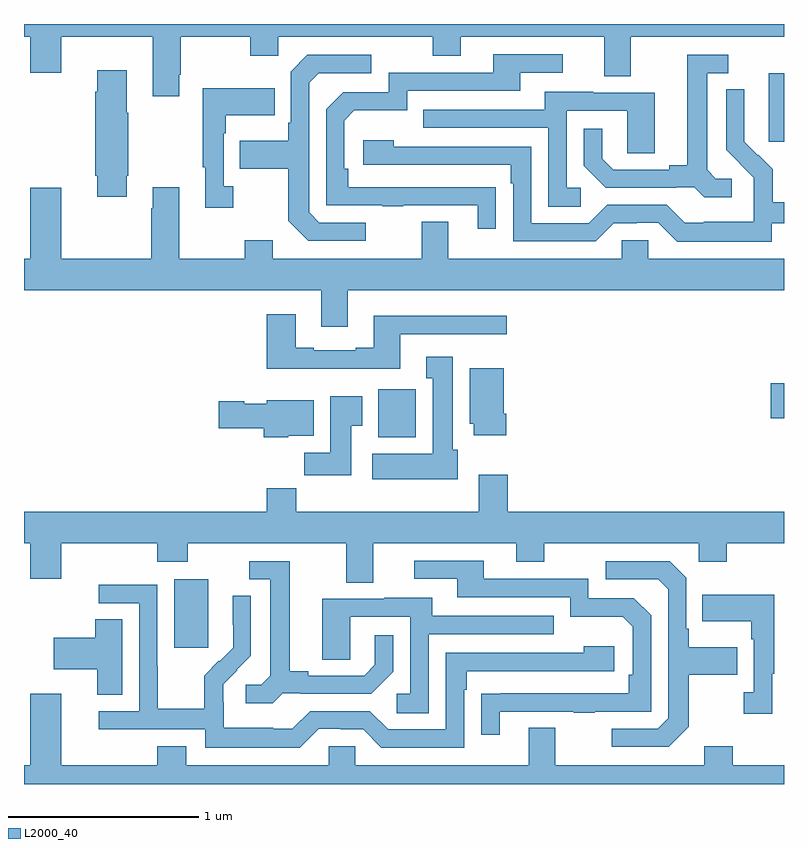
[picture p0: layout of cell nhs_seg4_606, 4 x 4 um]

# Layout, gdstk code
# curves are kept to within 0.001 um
import gdstk
lib = gdstk.Library(unit=1e-6, precision=1e-09)
def R(c, l, rs):  # rectangles x0, y0, x1, y1
    for r in rs: c.add(gdstk.rectangle(r[:2], r[2:], *l))
def P(c, l, *ps):  # polygons
    for p in ps: c.add(gdstk.Polygon(p, *l))
L2000_40 = (2000, 40)

nhs_seg4_606 = lib.new_cell('nhs_seg4_606')
R(nhs_seg4_606, L2000_40, [(141.791,781.617,141.97,781.978), (142.865,782.726,143.061,782.977), (144.93,782.825,145,783.008), (144.92,784.281,145,784.642)])
P(nhs_seg4_606, L2000_40, [(141.817,784.633),(141.825,784.633),(141.825,784.832),(142.192,784.832),(142.192,784.733),(142.338,784.733),(142.338,784.832),(143.152,784.832),(143.152,784.733),(143.299,784.733),(143.299,784.832),(144.053,784.832),(144.053,784.624),(144.193,784.624),(144.193,784.832),(145,784.832),(145,784.9),(141,784.9),(141,784.832),(141.032,784.832),(141.032,784.644),(141.196,784.644),(141.196,784.832),(141.677,784.832),(141.677,784.521),(141.817,784.521)],
  [(143.483,784.04),(142.706,784.041),(142.706,784.138),(142.686,784.138),(142.686,784.392),(142.739,784.445),(143.016,784.445),(143.016,784.548),(143.611,784.548),(143.611,784.644),(143.836,784.644),(143.836,784.74),(143.471,784.74),(143.471,784.644),(142.92,784.644),(142.92,784.542),(142.68,784.542),(142.59,784.452),(142.59,783.945),(142.885,783.945),(142.885,783.94),(142.997,783.94),(142.997,783.945),(143.387,783.945),(143.387,783.822),(143.483,783.822)],
  [(142.798,783.855),(142.554,783.855),(142.5,783.909),(142.5,784.59),(142.551,784.641),(142.828,784.641),(142.828,784.737),(142.491,784.737),(142.404,784.65),(142.404,784.381),(142.392,784.381),(142.392,784.285),(142.135,784.285),(142.135,784.138),(142.392,784.138),(142.392,783.865),(142.497,783.759),(142.798,783.759)],
  [(144.724,784.086),(144.642,784.086),(144.595,784.133),(144.595,784.641),(144.706,784.641),(144.706,784.737),(144.491,784.737),(144.491,784.157),(144.395,784.157),(144.395,784.134),(144.1,784.134),(144.043,784.191),(144.043,784.348),(143.946,784.348),(143.946,784.154),(144.062,784.038),(144.434,784.038),(144.434,784.041),(144.528,784.041),(144.58,783.989),(144.724,783.989)],
  [(141.541,784.102),(141.549,784.102),(141.549,784.433),(141.541,784.433),(141.541,784.657),(141.386,784.657),(141.386,784.544),(141.374,784.544),(141.374,784.102),(141.386,784.102),(141.386,783.99),(141.541,783.99)],
  [(142.102,784.046),(142.05,784.046),(142.05,784.325),(142.063,784.325),(142.063,784.421),(142.319,784.421),(142.319,784.561),(141.942,784.561),(141.942,784.145),(141.953,784.145),(141.953,783.933),(142.102,783.933)],
  [(144.936,783.852),(145,783.852),(145,783.961),(144.941,783.961),(144.941,784.135),(144.864,784.212),(144.861,784.209),(144.791,784.28),(144.792,784.556),(144.696,784.556),(144.696,784.238),(144.842,784.09),(144.842,783.993),(144.84,783.993),(144.84,783.859),(144.577,783.859),(144.577,783.855),(144.477,783.855),(144.384,783.948),(144.069,783.948),(143.973,783.852),(143.67,783.852),(143.67,784.254),(142.946,784.254),(142.946,784.288),(142.785,784.288),(142.785,784.158),(143.561,784.158),(143.561,784.061),(143.574,784.061),(143.574,783.756),(144.009,783.756),(144.105,783.852),(144.224,783.852),(144.224,783.855),(144.339,783.855),(144.439,783.755),(144.936,783.755)],
  [(143.929,784.038),(143.856,784.038),(143.856,784.443),(144.174,784.443),(144.174,784.219),(144.319,784.219),(144.319,784.539),(143.995,784.539),(143.995,784.543),(143.741,784.543),(143.741,784.449),(143.101,784.449),(143.101,784.353),(143.76,784.353),(143.76,783.937),(143.929,783.937)],
  [(142.162,783.763),(142.162,783.664),(141.817,783.664),(141.817,784.042),(141.677,784.042),(141.677,783.929),(141.67,783.929),(141.67,783.664),(141.196,783.664),(141.196,784.039),(141.032,784.039),(141.032,783.664),(141,783.664),(141,783.5),(142.565,783.5),(142.565,783.306),(142.705,783.306),(142.705,783.5),(145,783.5),(145,783.664),(144.285,783.664),(144.285,783.762),(144.147,783.762),(144.147,783.664),(143.233,783.664),(143.233,783.859),(143.093,783.859),(143.093,783.664),(142.309,783.664),(142.309,783.763)],
  [(142.981,783.267),(143.542,783.267),(143.542,783.364),(142.841,783.364),(142.841,783.196),(142.745,783.196),(142.745,783.183),(142.525,783.183),(142.525,783.196),(142.429,783.196),(142.429,783.373),(142.277,783.373),(142.277,783.086),(142.981,783.086)],
  [(143.284,782.658),(143.257,782.658),(143.257,783.148),(143.117,783.148),(143.117,783.035),(143.15,783.035),(143.15,782.638),(142.833,782.638),(142.833,782.504),(143.284,782.504)],
  [(143.537,782.848),(143.524,782.848),(143.524,783.088),(143.345,783.088),(143.345,782.796),(143.366,782.796),(143.366,782.736),(143.537,782.736)],
  [(142.723,782.785),(142.78,782.785),(142.78,782.941),(142.613,782.941),(142.613,782.644),(142.474,782.644),(142.474,782.526),(142.723,782.526)],
  [(142.392,782.732),(142.525,782.732),(142.525,782.92),(142.278,782.92),(142.278,782.902),(142.158,782.902),(142.158,782.915),(142.026,782.915),(142.026,782.773),(142.262,782.773),(142.262,782.726),(142.392,782.726)],
  [(143.546,782.527),(143.393,782.527),(143.393,782.332),(142.433,782.332),(142.433,782.456),(142.277,782.456),(142.277,782.332),(141,782.332),(141,782.168),(141.032,782.168),(141.032,781.98),(141.196,781.98),(141.196,782.168),(141.701,782.168),(141.701,782.069),(141.861,782.069),(141.861,782.168),(142.697,782.168),(142.697,781.96),(142.837,781.96),(142.837,782.168),(143.591,782.168),(143.591,782.069),(143.739,782.069),(143.739,782.168),(144.552,782.168),(144.552,782.069),(144.699,782.069),(144.699,782.168),(145,782.168),(145,782.332),(143.546,782.332)],
  [(143.503,781.281),(143.893,781.281),(143.893,781.276),(144.005,781.276),(144.005,781.281),(144.3,781.281),(144.3,781.788),(144.21,781.878),(143.97,781.878),(143.97,781.98),(143.419,781.98),(143.419,782.076),(143.055,782.076),(143.055,781.98),(143.279,781.98),(143.279,781.884),(143.874,781.884),(143.874,781.781),(144.151,781.781),(144.204,781.728),(144.204,781.474),(144.184,781.474),(144.184,781.377),(143.407,781.376),(143.407,781.158),(143.503,781.158)],
  [(144.499,781.201),(144.499,781.474),(144.755,781.474),(144.755,781.621),(144.499,781.621),(144.499,781.717),(144.486,781.717),(144.486,781.986),(144.399,782.073),(144.063,782.073),(144.063,781.977),(144.339,781.977),(144.39,781.926),(144.39,781.245),(144.336,781.191),(144.093,781.191),(144.093,781.095),(144.393,781.095)],
  [(142.362,781.377),(142.456,781.377),(142.456,781.374),(142.828,781.374),(142.944,781.49),(142.944,781.684),(142.847,781.684),(142.847,781.527),(142.79,781.47),(142.495,781.47),(142.495,781.493),(142.399,781.493),(142.399,782.073),(142.185,782.073),(142.185,781.977),(142.295,781.977),(142.295,781.469),(142.248,781.422),(142.167,781.422),(142.167,781.325),(142.31,781.325)],
  [(142.551,781.191),(142.667,781.191),(142.667,781.188),(142.785,781.188),(142.881,781.092),(143.316,781.092),(143.316,781.397),(143.329,781.397),(143.329,781.494),(144.106,781.494),(144.106,781.624),(143.945,781.624),(143.945,781.59),(143.22,781.59),(143.22,781.188),(142.917,781.188),(142.821,781.284),(142.506,781.284),(142.413,781.191),(142.313,781.191),(142.313,781.195),(142.05,781.195),(142.05,781.329),(142.048,781.329),(142.048,781.426),(142.194,781.574),(142.194,781.892),(142.098,781.892),(142.098,781.738),(142.1,781.738),(142.1,781.616),(142.029,781.545),(142.026,781.548),(141.949,781.471),(141.949,781.297),(141.705,781.297),(141.705,781.52),(141.702,781.52),(141.702,781.95),(141.393,781.95),(141.393,781.851),(141.606,781.851),(141.606,781.284),(141.393,781.284),(141.393,781.188),(141.954,781.188),(141.954,781.091),(142.451,781.091)],
  [(144.937,781.481),(144.949,781.481),(144.949,781.897),(144.571,781.897),(144.571,781.757),(144.828,781.757),(144.828,781.661),(144.84,781.661),(144.84,781.382),(144.789,781.382),(144.789,781.269),(144.937,781.269)],
  [(143.13,781.689),(143.789,781.689),(143.789,781.785),(143.149,781.785),(143.149,781.879),(142.895,781.879),(142.895,781.875),(142.571,781.875),(142.571,781.555),(142.716,781.555),(142.716,781.779),(143.034,781.779),(143.034,781.374),(142.962,781.374),(142.962,781.273),(143.13,781.273)],
  [(141.517,781.766),(141.374,781.766),(141.374,781.671),(141.156,781.671),(141.156,781.505),(141.386,781.505),(141.386,781.369),(141.517,781.369)],
  [(145,781),(144.729,781),(144.729,781.099),(144.581,781.099),(144.581,781),(143.797,781),(143.797,781.195),(143.657,781.195),(143.657,781),(142.743,781),(142.743,781.098),(142.605,781.098),(142.605,781),(141.853,781),(141.853,781.099),(141.701,781.099),(141.701,781),(141.196,781),(141.196,781.375),(141.032,781.375),(141.032,781),(141,781),(141,780.9),(145,780.9)])

lib.write_gds('nhs_seg4_606.gds')
